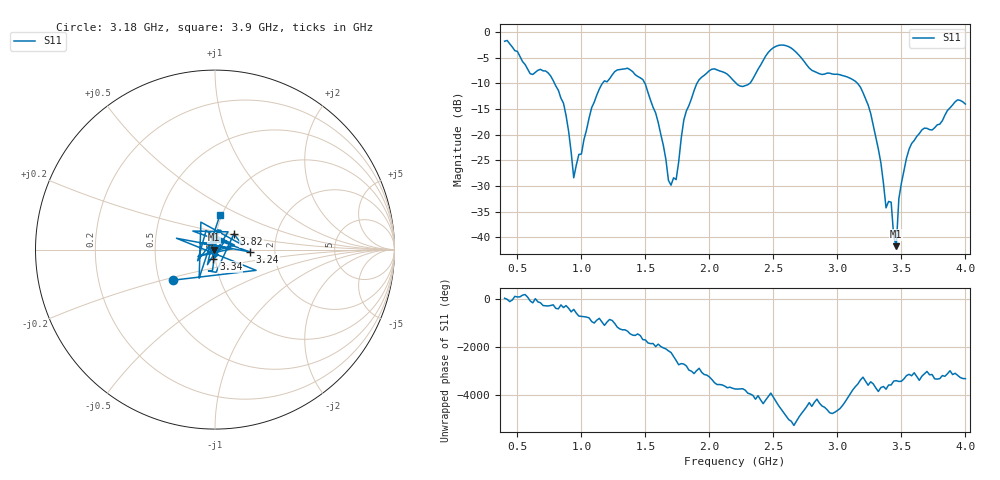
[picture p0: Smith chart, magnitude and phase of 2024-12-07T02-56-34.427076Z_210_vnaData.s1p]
!Created with skrf (http://scikit-rf.org).
# Hz S RI R 50.0
!freq ReS11 ImS11
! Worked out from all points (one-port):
!   181 points, 400 MHz to 4 GHz, reference 50 ohm
!   lowest |S11| = -41.8 dB at 3.46 GHz (marker M1), VSWR 1.02, Z = 49.2 - j0.0941 ohm
!   |S11| at or under -10 dB: 790 MHz to 1.165 GHz (374.6 MHz wide, 38.3 % of centre); 1.496 GHz to 1.903 GHz (406.9 MHz wide, 23.9 % of centre); 3.157 GHz to end of sweep (the widest 3 of 4)
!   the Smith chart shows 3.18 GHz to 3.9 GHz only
!   S11 on the Smith chart (normalised r, x): 3.18 GHz: 0.59, -0.22; 3.24 GHz: 1.48, -0.04; 3.34 GHz: 0.98, -0.10; 3.82 GHz: 1.21, +0.22; 3.9 GHz: 0.98, +0.39
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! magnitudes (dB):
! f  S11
! 400 MHz  -1.8
! 600 MHz  -8.1
! 740 MHz  -8.0
! 860 MHz  -13.9
! 940 MHz  -28.4
! 1.14 GHz  -11.1
! 1.3 GHz  -7.3
! 1.5 GHz  -10.2
! 1.7 GHz  -29.9
! 1.76 GHz  -25.3
! 1.8 GHz  -17.2
! 1.92 GHz  -9.3
! 2.2 GHz  -9.8
! 2.32 GHz  -9.9
! 2.52 GHz  -2.8
! 2.66 GHz  -3.5
! 3.1 GHz  -9.0
! 3.18 GHz  -10.8
! 3.24 GHz  -14.2
! 3.34 GHz  -25.6
! 3.38 GHz  -34.3
! 3.42 GHz  -33.2
! 3.46 GHz  -41.8
! 3.48 GHz  -32.5
! 3.56 GHz  -22.8
! 3.82 GHz  -17.3
! 3.9 GHz  -14.2
! 4 GHz  -14.0
